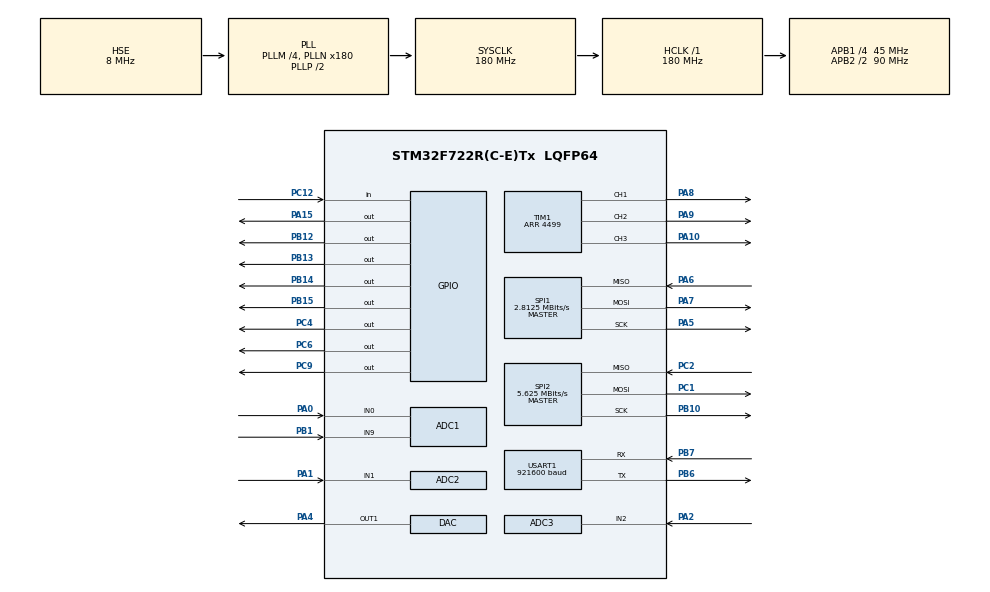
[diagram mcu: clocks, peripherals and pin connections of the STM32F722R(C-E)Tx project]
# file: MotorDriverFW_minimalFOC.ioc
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ADC1.Channel-0\#ChannelRegularConversion=ADC_CHANNEL_9
ADC1.Channel-1\#ChannelInjectedConversion=ADC_CHANNEL_0
ADC1.ClockPrescaler=ADC_CLOCK_SYNC_PCLK_DIV4
ADC1.ContinuousConvMode=DISABLE
ADC1.DMAContinuousRequests=DISABLE
ADC1.ExternalTrigConv=ADC_SOFTWARE_START
ADC1.ExternalTrigConvEdge=ADC_EXTERNALTRIGCONVEDGE_NONE
ADC1.ExternalTrigInjecConv=ADC_EXTERNALTRIGINJECCONV_T1_TRGO
ADC1.InjNumberOfConversion=1
ADC1.InjectedOffset-1\#ChannelInjectedConversion=0
ADC1.InjectedRank-1\#ChannelInjectedConversion=1
ADC1.Mode=ADC_TRIPLEMODE_INJECSIMULT
ADC1.NbrOfConversion=1
ADC1.NbrOfConversionFlag=1
ADC1.Rank-0\#ChannelRegularConversion=1
ADC1.SamplingTime-0\#ChannelRegularConversion=ADC_SAMPLETIME_3CYCLES
ADC1.SamplingTime-1\#ChannelInjectedConversion=ADC_SAMPLETIME_28CYCLES
ADC1.master=1
ADC2.Channel-0\#ChannelRegularConversion=ADC_CHANNEL_1
ADC2.Channel-1\#ChannelInjectedConversion=ADC_CHANNEL_1
ADC2.InjNumberOfConversion=1
ADC2.InjectedOffset-1\#ChannelInjectedConversion=0
ADC2.InjectedRank-1\#ChannelInjectedConversion=1
ADC2.Mode=ADC_TRIPLEMODE_INJECSIMULT
ADC2.NbrOfConversion=1
ADC2.NbrOfConversionFlag=1
ADC2.Rank-0\#ChannelRegularConversion=1
ADC2.SamplingTime-0\#ChannelRegularConversion=ADC_SAMPLETIME_3CYCLES
ADC2.SamplingTime-1\#ChannelInjectedConversion=ADC_SAMPLETIME_28CYCLES
ADC3.Channel-0\#ChannelRegularConversion=ADC_CHANNEL_2
ADC3.Channel-1\#ChannelInjectedConversion=ADC_CHANNEL_2
ADC3.DMAAccessMode=ADC_DMAACCESSMODE_1
ADC3.InjNumberOfConversion=1
ADC3.InjectedOffset-1\#ChannelInjectedConversion=0
ADC3.InjectedRank-1\#ChannelInjectedConversion=1
ADC3.Mode=ADC_TRIPLEMODE_INJECSIMULT
ADC3.NbrOfConversion=1
ADC3.NbrOfConversionFlag=1
ADC3.Rank-0\#ChannelRegularConversion=1
ADC3.SamplingTime-0\#ChannelRegularConversion=ADC_SAMPLETIME_3CYCLES
ADC3.SamplingTime-1\#ChannelInjectedConversion=ADC_SAMPLETIME_28CYCLES
CORTEX_M7.ART_ACCELERATOR_ENABLE=0
CORTEX_M7.CPU_DCache=Disabled
CORTEX_M7.CPU_ICache=Enabled
CORTEX_M7.FlashInterface=AXI_Enabled
CORTEX_M7.PREFETCH_ENABLE=0
CORTEX_M7.default_mode_Activation=1
Dma.Request0=USART1_TX
Dma.Request1=USART1_RX
Dma.Request2=SPI2_RX
Dma.Request3=SPI2_TX
Dma.SPI2_RX.2.Direction=DMA_PERIPH_TO_MEMORY
Dma.SPI2_RX.2.FIFOMode=DMA_FIFOMODE_DISABLE
Dma.SPI2_RX.2.Instance=DMA1_Stream3
Dma.SPI2_RX.2.MemDataAlignment=DMA_MDATAALIGN_HALFWORD
Dma.SPI2_RX.2.MemInc=DMA_MINC_ENABLE
Dma.SPI2_RX.2.Mode=DMA_NORMAL
Dma.SPI2_RX.2.PeriphDataAlignment=DMA_PDATAALIGN_HALFWORD
Dma.SPI2_RX.2.PeriphInc=DMA_PINC_DISABLE
Dma.SPI2_RX.2.Priority=DMA_PRIORITY_MEDIUM
Dma.SPI2_TX.3.Direction=DMA_MEMORY_TO_PERIPH
Dma.SPI2_TX.3.FIFOMode=DMA_FIFOMODE_DISABLE
Dma.SPI2_TX.3.Instance=DMA1_Stream4
Dma.SPI2_TX.3.MemDataAlignment=DMA_MDATAALIGN_HALFWORD
Dma.SPI2_TX.3.MemInc=DMA_MINC_ENABLE
Dma.SPI2_TX.3.Mode=DMA_NORMAL
Dma.SPI2_TX.3.PeriphDataAlignment=DMA_PDATAALIGN_HALFWORD
Dma.SPI2_TX.3.PeriphInc=DMA_PINC_DISABLE
Dma.SPI2_TX.3.Priority=DMA_PRIORITY_MEDIUM
Dma.USART1_RX.1.Direction=DMA_PERIPH_TO_MEMORY
Dma.USART1_RX.1.FIFOMode=DMA_FIFOMODE_DISABLE
Dma.USART1_RX.1.Instance=DMA2_Stream2
Dma.USART1_RX.1.MemDataAlignment=DMA_MDATAALIGN_BYTE
Dma.USART1_RX.1.MemInc=DMA_MINC_ENABLE
Dma.USART1_RX.1.Mode=DMA_CIRCULAR
Dma.USART1_RX.1.PeriphDataAlignment=DMA_PDATAALIGN_BYTE
Dma.USART1_RX.1.PeriphInc=DMA_PINC_DISABLE
Dma.USART1_RX.1.Priority=DMA_PRIORITY_LOW
Dma.USART1_TX.0.Direction=DMA_MEMORY_TO_PERIPH
Dma.USART1_TX.0.FIFOMode=DMA_FIFOMODE_DISABLE
Dma.USART1_TX.0.Instance=DMA2_Stream7
Dma.USART1_TX.0.MemDataAlignment=DMA_MDATAALIGN_BYTE
Dma.USART1_TX.0.MemInc=DMA_MINC_ENABLE
Dma.USART1_TX.0.Mode=DMA_NORMAL
Dma.USART1_TX.0.PeriphDataAlignment=DMA_PDATAALIGN_BYTE
Dma.USART1_TX.0.PeriphInc=DMA_PINC_DISABLE
Dma.USART1_TX.0.Priority=DMA_PRIORITY_LOW
Mcu.Family=STM32F7
Mcu.Name=STM32F722R(C-E)Tx
Mcu.Package=LQFP64
NVIC.ADC_IRQn=true\:0\:0\:false\:false\:true\:true\:true\:true
NVIC.DMA1_Stream3_IRQn=true\:0\:0\:false\:false\:true\:false\:true\:true
NVIC.DMA1_Stream4_IRQn=true\:0\:0\:false\:false\:true\:false\:true\:true
NVIC.DMA2_Stream2_IRQn=true\:1\:0\:true\:false\:true\:false\:true\:true
NVIC.DMA2_Stream7_IRQn=true\:1\:0\:true\:false\:true\:false\:true\:true
NVIC.PriorityGroup=NVIC_PRIORITYGROUP_4
NVIC.TIM1_UP_TIM10_IRQn=true\:0\:0\:false\:false\:true\:true\:true\:true
NVIC.USART1_IRQn=true\:2\:0\:true\:false\:true\:false\:true\:true
PA0-WKUP.Signal=ADCx_IN0
PA1.Signal=ADCx_IN1
PA10.Signal=S_TIM1_CH3
PA13.Mode=Trace_Asynchronous_SW
PA13.Signal=SYS_JTMS-SWDIO
PA14.Mode=Trace_Asynchronous_SW
PA14.Signal=SYS_JTCK-SWCLK
PA15.GPIO_Speed=GPIO_SPEED_FREQ_VERY_HIGH
PA15.Signal=GPIO_Output
PA2.Signal=ADCx_IN2
PA4.Signal=COMP_DAC1_group
PA5.Mode=Full_Duplex_Master
PA5.Signal=SPI1_SCK
PA6.Mode=Full_Duplex_Master
PA6.Signal=SPI1_MISO
PA7.Mode=Full_Duplex_Master
PA7.Signal=SPI1_MOSI
PA8.Signal=S_TIM1_CH1
PA9.Signal=S_TIM1_CH2
PB1.Signal=ADCx_IN9
PB10.Mode=Full_Duplex_Master
PB10.Signal=SPI2_SCK
PB12.GPIO_Speed=GPIO_SPEED_FREQ_VERY_HIGH
PB12.Signal=GPIO_Output
PB13.GPIO_Speed=GPIO_SPEED_FREQ_VERY_HIGH
PB13.Signal=GPIO_Output
PB14.GPIO_Speed=GPIO_SPEED_FREQ_VERY_HIGH
PB14.PinState=GPIO_PIN_RESET
PB14.Signal=GPIO_Output
PB15.GPIO_Speed=GPIO_SPEED_FREQ_VERY_HIGH
PB15.Signal=GPIO_Output
PB3.Mode=Trace_Asynchronous_SW
PB3.Signal=SYS_JTDO-SWO
PB6.Mode=Asynchronous
PB6.Signal=USART1_TX
PB7.Mode=Asynchronous
PB7.Signal=USART1_RX
PC1.Mode=Full_Duplex_Master
PC1.Signal=SPI2_MOSI
PC12.Signal=GPIO_Input
PC2.Mode=Full_Duplex_Master
PC2.Signal=SPI2_MISO
PC4.GPIO_Speed=GPIO_SPEED_FREQ_VERY_HIGH
PC4.Signal=GPIO_Output
PC6.GPIO_Speed=GPIO_SPEED_FREQ_VERY_HIGH
PC6.Signal=GPIO_Output
PC9.GPIO_Speed=GPIO_SPEED_FREQ_VERY_HIGH
PC9.Signal=GPIO_Output
PH0-OSC_IN.Mode=HSE-External-Oscillator
PH0-OSC_IN.Signal=RCC_OSC_IN
PH1-OSC_OUT.Mode=HSE-External-Oscillator
PH1-OSC_OUT.Signal=RCC_OSC_OUT
ProjectManager.HeapSize=0x200
ProjectManager.StackSize=0x400
ProjectManager.TargetToolchain=STM32CubeIDE
RCC.AHBFreq_Value=180000000
RCC.APB1CLKDivider=RCC_HCLK_DIV4
RCC.APB1Freq_Value=45000000
RCC.APB1TimFreq_Value=90000000
RCC.APB2CLKDivider=RCC_HCLK_DIV2
RCC.APB2Freq_Value=90000000
RCC.APB2TimFreq_Value=180000000
RCC.CortexFreq_Value=180000000
RCC.HCLKFreq_Value=180000000
RCC.HSE_VALUE=8000000
RCC.HSI_VALUE=16000000
RCC.LSE_VALUE=32768
RCC.PLLM=4
RCC.PLLN=180
RCC.PLLSourceVirtual=RCC_PLLSOURCE_HSE
RCC.SYSCLKFreq_VALUE=180000000
RCC.SYSCLKSource=RCC_SYSCLKSOURCE_PLLCLK
RCC.USBFreq_Value=180000000
RCC.VCOOutputFreq_Value=360000000
SH.ADCx_IN0.0=ADC1_IN0,IN0
SH.ADCx_IN1.0=ADC2_IN1,IN1
SH.ADCx_IN2.0=ADC3_IN2,IN2
SH.ADCx_IN9.0=ADC1_IN9,IN9
SH.COMP_DAC1_group.0=DAC_OUT1,DAC_OUT1
SH.S_TIM1_CH1.0=TIM1_CH1,PWM Generation1 CH1
SH.S_TIM1_CH2.0=TIM1_CH2,PWM Generation2 CH2
SH.S_TIM1_CH3.0=TIM1_CH3,PWM Generation3 CH3
SPI1.BaudRatePrescaler=SPI_BAUDRATEPRESCALER_32
SPI1.CLKPhase=SPI_PHASE_2EDGE
SPI1.CalculateBaudRate=2.8125 MBits/s
SPI1.DataSize=SPI_DATASIZE_16BIT
SPI1.Direction=SPI_DIRECTION_2LINES
SPI1.Mode=SPI_MODE_MASTER
SPI1.VirtualType=VM_MASTER
SPI2.BaudRatePrescaler=SPI_BAUDRATEPRESCALER_8
SPI2.CLKPhase=SPI_PHASE_2EDGE
SPI2.CalculateBaudRate=5.625 MBits/s
SPI2.DataSize=SPI_DATASIZE_16BIT
SPI2.Direction=SPI_DIRECTION_2LINES
SPI2.Mode=SPI_MODE_MASTER
SPI2.VirtualType=VM_MASTER
TIM1.Channel-PWM\ Generation1\ CH1=TIM_CHANNEL_1
TIM1.Channel-PWM\ Generation2\ CH2=TIM_CHANNEL_2
TIM1.Channel-PWM\ Generation3\ CH3=TIM_CHANNEL_3
TIM1.Channel-PWM\ Generation4\ No\ Output=TIM_CHANNEL_4
TIM1.CounterMode=TIM_COUNTERMODE_CENTERALIGNED1
TIM1.OCMode_PWM-PWM\ Generation1\ CH1=TIM_OCMODE_PWM1
TIM1.OCMode_PWM-PWM\ Generation2\ CH2=TIM_OCMODE_PWM1
TIM1.OCMode_PWM-PWM\ Generation3\ CH3=TIM_OCMODE_PWM1
TIM1.OCPolarity_1=TIM_OCPOLARITY_LOW
TIM1.OCPolarity_2=TIM_OCPOLARITY_LOW
TIM1.OCPolarity_3=TIM_OCPOLARITY_LOW
TIM1.OCPolarity_4=TIM_OCPOLARITY_HIGH
TIM1.Period=4499
TIM1.RepetitionCounter=1
TIM1.TIM_MasterOutputTrigger=TIM_TRGO_OC4REF
TIM1.TIM_MasterSlaveMode=TIM_MASTERSLAVEMODE_ENABLE
USART1.BaudRate=921600
USART1.VirtualMode-Asynchronous=VM_ASYNC
VP_TIM1_VS_ClockSourceINT.Mode=Internal
VP_TIM1_VS_no_output4.Mode=PWM Generation4 No Output
board=custom

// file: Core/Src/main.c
/* USER CODE BEGIN Header */
/**
  ******************************************************************************
  * @file           : main.c
  * @brief          : Main program body
  ******************************************************************************
  * @attention
  *
  * Copyright (c) 2026 STMicroelectronics.
  * All rights reserved.
  *
  * This software is licensed under terms that can be found in the LICENSE file
  * in the root directory of this software component.
  * If no LICENSE file comes with this software, it is provided AS-IS.
  *
  ******************************************************************************
  */
/* USER CODE END Header */
#include "main.h"

/* USER CODE BEGIN Includes */
#include <stdio.h>
#include <string.h>
#include "motor/foc_motor.h"
#include "foc_config.h"
#include "foc.h"
#include "driver/foc_drv8323.h"
#include "driver/foc_as5147.h"
#include "core/math/foc_math.h"
#include "core/math/foc_trapgen.h"
/* USER CODE END Includes */

/* USER CODE BEGIN PD */
#define AS5147_CSN_PORT      GPIOC
#define AS5147_CSN_PIN       GPIO_PIN_4
#define DRV8323_NSCS_PORT    GPIOA
#define DRV8323_NSCS_PIN     GPIO_PIN_15
#define DRV8323_EN_PORT      GPIOB
#define DRV8323_EN_PIN       GPIO_PIN_13
#define DRV8323_NFAULT_PORT  GPIOC
#define DRV8323_NFAULT_PIN   GPIO_PIN_12
#define DRV8323_INLX_PORT    GPIOC
#define DRV8323_INLX_PIN     GPIO_PIN_9
#define LED_DEBUG_PORT       GPIOB
#define LED_DEBUG_PIN        GPIO_PIN_12
/* USER CODE END PD */

ADC_HandleTypeDef hadc1;
ADC_HandleTypeDef hadc2;
ADC_HandleTypeDef hadc3;

DAC_HandleTypeDef hdac;

SPI_HandleTypeDef hspi1;
SPI_HandleTypeDef hspi2;
DMA_HandleTypeDef hdma_spi2_rx;
DMA_HandleTypeDef hdma_spi2_tx;

TIM_HandleTypeDef htim1;

UART_HandleTypeDef huart1;
DMA_HandleTypeDef hdma_usart1_tx;
DMA_HandleTypeDef hdma_usart1_rx;

/* USER CODE BEGIN PV */
FOC_Motor_t motor;

static uint16_t          as5147_tx = AS5147_CMD_READ_ANGLECOM;
static volatile uint16_t as5147_rx = 0;
static volatile uint32_t isr_cycles = 0;

/* Binary data logger — 64-byte frames at 1 kHz via UART DMA.
 * Frame: [0xAA][0x55][15 × float32 LE, 60 B][uint8 mode][XOR CRC]
 * Fields: theta_mech, omega_mech, theta_elec, i_u, i_v, i_w,
 *         i_d, i_q, v_d, v_q, i_d_ref, i_q_ref, omega_ref, theta_ref, isr_us */
#define LOG_DECIMATE    20u
#define LOG_FRAME_BYTES 64u

static uint8_t          log_buf[2][LOG_FRAME_BYTES];
static volatile uint8_t log_wr   = 0u;
static volatile uint8_t log_pend = 0u;

/* ISR operating mode */
typedef enum { ISR_MODE_ADC_CAL, ISR_MODE_CONTROL } ISR_Mode_t;
static volatile ISR_Mode_t isr_mode = ISR_MODE_ADC_CAL;

/* ADC zero-current offset calibration */
#define ADC_CAL_SAMPLES 256u
static uint32_t          adc_zero[3];
static uint32_t          adc_cal_sum[3];
static uint32_t          adc_cal_count;
static volatile uint8_t  adc_cal_finished = 0u;

/* Function generator — runs in ISR, drives the active-mode reference */
typedef struct {
    uint8_t  enabled;
    uint8_t  waveform;   /* 0=step  1=square  2=triangle  3=sine  4=staircase2 */
    float    frequency;  /* Hz */
    float    amplitude;  /* peak magnitude */
    float    offset;     /* DC bias */
    float    phase;      /* accumulator [0, 1) */
} FOC_FuncGen_t;
static FOC_FuncGen_t fgen;

/* Position reference shaping — application-layer concern, not foc.c's.
 * theta_target is the raw, instantaneously-set commanded position (from a
 * UART command or the fgen); trapgen_pos shapes it into a trapezoidal
 * trajectory each tick, and only the shaped output is written into
 * motor.ref.theta_ref for foc.c to track. Kept here (rather than inside
 * the portable library) so that on a future CAN-networked multi-actuator
 * build, a coordinator-driven reference can be substituted here without
 * foc.c ever needing to know or care where theta_ref comes from. */
static float         theta_target = 0.0f;
static FOC_TrapGen_t trapgen_pos;

/* UART RX — DMA circular buffer; main loop polls write pointer, no callbacks needed */
#define CMD_DMA_BUF_SIZE 64u
static          uint8_t  cmd_dma_buf[CMD_DMA_BUF_SIZE];
static          uint8_t  cmd_dma_rd  = 0u;

/* Mailbox: main loop parses frames and posts here; ISR applies at top of tick */
static volatile uint8_t  pending_cmd  = 0u;
static volatile float    pending_val  = 0.0f;
static volatile uint8_t  cmd_ready    = 0u;
static volatile uint8_t          motor_stopped    = 0u;
static          FOC_CtrlMode_t   mode_before_stop = FOC_MODE_VOLTAGE;
/* USER CODE END PV */

void SystemClock_Config(void);
static void MPU_Config(void);
static void MX_GPIO_Init(void);
static void MX_DMA_Init(void);
static void MX_SPI2_Init(void);
static void MX_TIM1_Init(void);
static void MX_USART1_UART_Init(void);
static void MX_DAC_Init(void);
static void MX_SPI1_Init(void);
static void MX_ADC1_Init(void);
static void MX_ADC2_Init(void);
static void MX_ADC3_Init(void);
/* USER CODE BEGIN PFP */
static void PWM_SetDuties(float duty_u, float duty_v, float duty_w);
static void cmd_parse(void);
static void cmd_apply(uint8_t cmd, float val);
/* USER CODE END PFP */

/* USER CODE BEGIN 0 */
int _write(int file, char *ptr, int len)
{
    for (int i = 0; i < len; i++)
        ITM_SendChar(ptr[i]);
    return len;
}

static void DRV8323_SPI_Transfer(const uint8_t *tx, uint8_t *rx, uint8_t len)
{
    uint16_t tx16 = ((uint16_t)tx[0] << 8) | tx[1];
    uint16_t rx16 = 0;
    HAL_GPIO_WritePin(DRV8323_NSCS_PORT, DRV8323_NSCS_PIN, GPIO_PIN_RESET);
    HAL_SPI_TransmitReceive(&hspi1, (uint8_t*)&tx16, (uint8_t*)&rx16, 1, 10);
    HAL_GPIO_WritePin(DRV8323_NSCS_PORT, DRV8323_NSCS_PIN, GPIO_PIN_SET);
    if (rx) { rx[0] = (uint8_t)(rx16 >> 8); rx[1] = (uint8_t)(rx16 & 0xFF); }
}

static uint16_t DRV8323_ReadReg(uint8_t addr)
{
    uint16_t frame = (1u << 15u) | ((uint16_t)(addr & 0x0Fu) << 11u);
    uint8_t tx[2] = { (uint8_t)(frame >> 8), (uint8_t)(frame & 0xFF) };
    uint8_t rx[2] = { 0, 0 };
    DRV8323_SPI_Transfer(tx, rx, 2);
    return ((uint16_t)rx[0] << 8 | rx[1]) & 0x7FFu;
}

static void PWM_SetDuties(float duty_u, float duty_v, float duty_w)
{
    uint32_t period = __HAL_TIM_GET_AUTORELOAD(&htim1);
    __HAL_TIM_SET_COMPARE(&htim1, TIM_CHANNEL_3, (uint32_t)(duty_u * period));
    __HAL_TIM_SET_COMPARE(&htim1, TIM_CHANNEL_2, (uint32_t)(duty_v * period));
    __HAL_TIM_SET_COMPARE(&htim1, TIM_CHANNEL_1, (uint32_t)(duty_w * period));
}

static void log_pack(void)
{
    if (log_pend) return;

    uint8_t *p = log_buf[log_wr];
    p[0] = 0xAAu;
    p[1] = 0x55u;

    const float payload[15] = {
        motor.state.theta_mech,
        motor.state.omega_mech,
        motor.state.theta_elec,
        motor.state.i_u,
        motor.state.i_v,
        motor.state.i_w,
        motor.state.i_d,
        motor.state.i_q,
        motor.out.v_d,
        motor.out.v_q,
        motor.ref.i_d_ref,
        motor.ref.i_q_ref,
        motor.ref.omega_ref,
        motor.ref.theta_ref,
        (float)isr_cycles / 180.0f
    };
    memcpy(p + 2u, payload, 60u);

    p[62u] = (uint8_t)motor.ref.mode;

    uint8_t crc = 0u;
    for (uint8_t i = 2u; i < 63u; i++) crc ^= p[i];
    p[63u] = crc;

    log_pend = 1u;
}

static float fgen_update(FOC_FuncGen_t *fg)
{
    fg->phase += fg->frequency * FOC_TS_HW;
    if (fg->phase >= 1.0f) fg->phase -= 1.0f;

    float out;
    switch (fg->waveform) {
        case 1u: /* square */
            out = (fg->phase < 0.5f) ? fg->amplitude : -fg->amplitude;
            break;
        case 2u: /* triangle */
            out = fg->amplitude * ((fg->phase < 0.5f)
                ? (4.0f * fg->phase - 1.0f)
                : (3.0f - 4.0f * fg->phase));
            break;
        case 3u: { /* sine — uses LUT, no math.h */
            float s, c;
            FOC_Math_SinCos(fg->phase * FOC_TWO_PI, &s, &c);
            out = fg->amplitude * s;
            break;
        }
        case 4u: {
            /* 2-step staircase: 0 -> A -> 2A, repeating every period.
             * The A->2A leg never crosses zero current, so the dead-time
             * phase-current-sign disturbance stays fixed across that edge —
             * that's the "second step" meant for clean R/L identification;
             * discard the 0->A and 2A->0 legs, which do cross zero. */
            const float third = 1.0f / 3.0f;
            if (fg->phase < third)             out = 0.0f;
            else if (fg->phase < 2.0f * third) out = fg->amplitude;
            else                                out = 2.0f * fg->amplitude;
            break;
        }
        case 0u: /* step — constant amplitude */
        default:
            out = fg->amplitude;
            break;
    }
    return out + fg->offset;
}

void HAL_TIM_PeriodElapsedCallback(TIM_HandleTypeDef *htim)
{
    static uint32_t log_tick = 0u;

    if (htim->Instance != TIM1) return;
    if (isr_mode == ISR_MODE_ADC_CAL) return;

    if (cmd_ready) {
        cmd_ready = 0u;
        cmd_apply(pending_cmd, pending_val);
    }

    uint32_t t0 = DWT->CYCCNT;

    motor.state.theta_mech_raw = (float)(as5147_rx & AS5147_RESP_DATA_MASK)
                                 * (2.0f * 3.14159265f / 16384.0f);
    HAL_GPIO_WritePin(AS5147_CSN_PORT, AS5147_CSN_PIN, GPIO_PIN_RESET);
    HAL_SPI_TransmitReceive_DMA(&hspi2, (uint8_t*)&as5147_tx, (uint8_t*)&as5147_rx, 1);

    /* Apply function generator — voltage mode only; other modes commented out */
    if (fgen.enabled && !motor_stopped) {
        float fgen_out = fgen_update(&fgen);
        if (motor.ref.mode == FOC_MODE_VOLTAGE) {
            motor.ref.v_q_ref = fgen_out;
//        	motor.ref.v_d_ref = fgen_out; //Just for measuring d axis parameters
        }
//      else if (motor.ref.mode == FOC_MODE_TORQUE)    motor.ref.i_d_ref   = fgen_out; //For testing id current control, this should be iq
        else if (motor.ref.mode == FOC_MODE_TORQUE)    motor.ref.i_q_ref   = fgen_out;
        else if (motor.ref.mode == FOC_MODE_VELOCITY)  motor.ref.omega_ref = fgen_out;
        else if (motor.ref.mode == FOC_MODE_POSITION)  theta_target        = fgen_out;
    }

    /* Shape theta_target into a trapezoidal trajectory before foc.c tracks
     * it — application-layer concern, see trapgen_pos declaration above.
     * Seeds from the real position on first use after a reset, and replans
     * whenever theta_target actually changes (bumpless start / re-target,
     * same tradeoffs as documented in foc_trapgen.h). */
    if (motor.ref.mode == FOC_MODE_POSITION) {
        if (!trapgen_pos.initialized) {
            FOC_TrapGen_Seed(&trapgen_pos, motor.state.theta_mech - motor.hw.theta_mech_offset);
        }
        if (theta_target != trapgen_pos.last_target_raw) {
            FOC_TrapGen_Start(&trapgen_pos, theta_target,
                               FOC_POSITION_TRAP_VMAX, FOC_POSITION_TRAP_AMAX);
        }
        motor.ref.theta_ref = FOC_TrapGen_Update(&trapgen_pos, FOC_TS_HW);
    }

    FOC_Step(&motor);
//  PWM_SetDuties(motor.out.duty_u, motor.out.duty_v, motor.out.duty_w);  // V/W original order
    PWM_SetDuties(motor.out.duty_u, motor.out.duty_w, motor.out.duty_v);  // V and W swapped

    float i_q_norm = motor.state.i_q * (1.0f / 1.0f);
    if (i_q_norm >  1.0f) i_q_norm =  1.0f;
    if (i_q_norm < -1.0f) i_q_norm = -1.0f;
    HAL_DAC_SetValue(&hdac, DAC_CHANNEL_1, DAC_ALIGN_12B_R,
                     (uint32_t)((i_q_norm + 1.0f) * 0.5f * 4095.0f));

    isr_cycles = DWT->CYCCNT - t0;

//    static uint32_t log_tick = 0u;
    if (++log_tick >= LOG_DECIMATE) {
        log_tick = 0u;
        log_pack();
    }
}

void HAL_SPI_TxRxCpltCallback(SPI_HandleTypeDef *hspi)
{
    if (hspi->Instance != SPI2) return;
    HAL_GPIO_WritePin(AS5147_CSN_PORT, AS5147_CSN_PIN, GPIO_PIN_SET);
}

static void cmd_parse(void)
{
    /* Poll DMA write pointer and scan for valid 7-byte frames.
     * Frame: [0xBB][CMD][float32 LE, 4 B][XOR CRC]
     * Bytes are consumed here; command is posted to mailbox for ISR to apply. */
    uint8_t dma_wr = (uint8_t)(CMD_DMA_BUF_SIZE - __HAL_DMA_GET_COUNTER(huart1.hdmarx));
    uint8_t avail  = (uint8_t)((dma_wr - cmd_dma_rd + CMD_DMA_BUF_SIZE) & (CMD_DMA_BUF_SIZE - 1u));

    while (avail >= 7u) {
        if (cmd_dma_buf[cmd_dma_rd] != 0xBBu) {
            cmd_dma_rd = (cmd_dma_rd + 1u) & (CMD_DMA_BUF_SIZE - 1u);
            avail--;
            continue;
        }
        uint8_t crc = 0u;
        for (uint8_t i = 1u; i < 6u; i++)
            crc ^= cmd_dma_buf[(cmd_dma_rd + i) & (CMD_DMA_BUF_SIZE - 1u)];
        if (crc != cmd_dma_buf[(cmd_dma_rd + 6u) & (CMD_DMA_BUF_SIZE - 1u)]) {
            cmd_dma_rd = (cmd_dma_rd + 1u) & (CMD_DMA_BUF_SIZE - 1u);
            avail--;
            continue;
        }
        uint8_t cmd = cmd_dma_buf[(cmd_dma_rd + 1u) & (CMD_DMA_BUF_SIZE - 1u)];
        uint8_t fb[4];
        for (uint8_t i = 0u; i < 4u; i++)
            fb[i] = cmd_dma_buf[(cmd_dma_rd + 2u + i) & (CMD_DMA_BUF_SIZE - 1u)];
        float val;
        memcpy(&val, fb, 4u);
        cmd_dma_rd = (cmd_dma_rd + 7u) & (CMD_DMA_BUF_SIZE - 1u);
        avail -= 7u;

        if (!cmd_ready) {
            pending_val = val;
            pending_cmd = cmd;
            cmd_ready   = 1u;
        }
        /* If cmd_ready is already set the ISR hasn't applied the previous command
         * yet — drop this frame. Commands arrive at human speed (ms intervals) so
         * this should never happen in practice. */
    }
}

static void cmd_apply(uint8_t cmd, float val)
{
    /* Called from ISR context — safe to write motor.ref.* directly. */
    switch (cmd) {
        case 0x01u: { /* SET_MODE */
            FOC_CtrlMode_t new_mode = (FOC_CtrlMode_t)val;
            /* While stopped, the live ref.mode must stay pinned at
             * FOC_MODE_VOLTAGE (gate disabled) — switching it to a PI-driven
             * mode here would run the current/velocity/position loop against
             * a bridge that can't respond, winding up the integrator before
             * RESUME ever re-enables it. Redirect the request to
             * mode_before_stop instead; RESUME already applies it. */
            FOC_CtrlMode_t *target = motor_stopped ? &mode_before_stop : &motor.ref.mode;
            if (new_mode != *target) {
                motor.ref.v_d_ref   = 0.0f;
                motor.ref.v_q_ref   = 0.0f;
                motor.ref.i_d_ref   = 0.0f;
                motor.ref.i_q_ref   = 0.0f;
                motor.ref.omega_ref = 0.0f;
                /* Entering position mode: hold the current position instead of
                 * snapping theta_target to 0, which would command a step to
                 * the calibration-zero angle and jerk the rotor. Resetting
                 * trapgen_pos makes the shaping block re-seed from the real
                 * position on the next tick (see the shaping block above
                 * FOC_Step() in the ISR). */
                theta_target = (new_mode == FOC_MODE_POSITION)
                             ? (motor.state.theta_mech - motor.hw.theta_mech_offset)
                             : 0.0f;
                motor.ref.theta_ref = theta_target;
                FOC_TrapGen_Reset(&trapgen_pos);
                fgen.enabled = 0u;
                *target      = new_mode;
                FOC_Reset();
            }
            break;
        }
        case 0x02u: motor.ref.v_d_ref = val; break;  /* SET_VD_REF */
        case 0x03u: motor.ref.v_q_ref = val; break;  /* SET_VQ_REF */
        case 0x04u: motor.ref.i_d_ref   = val; break;  /* SET_ID_REF  */
        case 0x05u: motor.ref.i_q_ref   = val; break;  /* SET_IQ_REF  */
        case 0x06u: motor.ref.omega_ref  = val; break;  /* SET_OMEGA_REF */
        case 0x07u: theta_target = val; break;  /* SET_THETA_REF */
        case 0x08u: { /* STOP */
            /* Drop to voltage mode at 0V instead of leaving the previous
             * mode running with zeroed refs: with the gate driver disabled
             * the inner loops would keep integrating against a measured
             * state they can no longer correct, winding up the PID(s) and
             * causing a jump the moment RESUME re-enables the bridge. */
            if (!motor_stopped) {
                mode_before_stop = motor.ref.mode;
            }
            motor.ref.v_d_ref   = 0.0f;
            motor.ref.v_q_ref   = 0.0f;
            motor.ref.i_d_ref   = 0.0f;
            motor.ref.i_q_ref   = 0.0f;
            motor.ref.omega_ref = 0.0f;
            motor.ref.theta_ref = 0.0f;
            motor.ref.mode      = FOC_MODE_VOLTAGE;
            fgen.enabled        = 0u;
            FOC_Reset();
            HAL_GPIO_WritePin(GPIOC, GPIO_PIN_9, GPIO_PIN_RESET);
            motor_stopped = 1u;
            break;
        }
        case 0x09u: { /* RESUME */
            if (motor_stopped) {
                /* Position mode: hold the current position rather than
                 * resuming with the stale theta_target zeroed out by STOP. */
                if (mode_before_stop == FOC_MODE_POSITION) {
                    theta_target = motor.state.theta_mech - motor.hw.theta_mech_offset;
                    motor.ref.theta_ref = theta_target;
                    FOC_TrapGen_Reset(&trapgen_pos);
                }
                motor.ref.mode = mode_before_stop;
                FOC_Reset();
                HAL_GPIO_WritePin(GPIOC, GPIO_PIN_9, GPIO_PIN_SET);
                motor_stopped = 0u;
            }
            break;
        }
        case 0x0Au: fgen.waveform  = (uint8_t)val;            break;  /* FGEN_WAVE   */
        case 0x0Bu: fgen.frequency = val;                      break;  /* FGEN_FREQ   */
        case 0x0Cu: fgen.amplitude = val;                      break;  /* FGEN_AMP    */
        case 0x0Du: fgen.offset    = val;                      break;  /* FGEN_OFFSET */
        case 0x0Eu: fgen.enabled   = (val != 0.0f) ? 1u : 0u; break;  /* FGEN_ENABLE */
        default: break;
    }
}
/* USER CODE END 0 */

int main(void)
{

  /* MPU Configuration--------------------------------------------------------*/
  MPU_Config();

  /* Enable the CPU Cache */

  /* Enable I-Cache---------------------------------------------------------*/
  SCB_EnableICache();

  /* MCU Configuration--------------------------------------------------------*/

  /* Reset of all peripherals, Initializes the Flash interface and the Systick. */
  HAL_Init();

  /* Configure the system clock */
  SystemClock_Config();
  HAL_Delay(6000);	//Test power-up delay

  /* Initialize all configured peripherals */
  MX_GPIO_Init();
  MX_DMA_Init();
  MX_SPI2_Init();
  MX_TIM1_Init();
  MX_USART1_UART_Init();
  MX_DAC_Init();
  MX_SPI1_Init();
  MX_ADC1_Init();
  MX_ADC2_Init();
  MX_ADC3_Init();
  /* USER CODE BEGIN 2 */
  printf("Starting main loop \r\n");

  // Motor params
  motor.params.Rs         = FOC_MOTOR_RS;
  motor.params.Ld         = FOC_MOTOR_LD;
  motor.params.Lq         = FOC_MOTOR_LQ;
  motor.params.lambda_pm  = FOC_MOTOR_LAMBDA_PM;
  motor.params.pole_pairs = FOC_MOTOR_POLE_PAIRS;
  motor.params.J          = FOC_MOTOR_J;
  motor.params.Dm         = FOC_MOTOR_DM;

  // HW config
  motor.hw.Ts               = FOC_TS_HW;
  motor.hw.duty_max         = FOC_DUTY_MAX;
  motor.hw.pwm_active_low   = FOC_PWM_ACTIVE_LOW;
  motor.hw.theta_elec_offset = 0.0f;
  motor.hw.theta_mech_offset = 0.0f;
  motor.hw.phase_reversed   = 0;
//  motor.hw.encoder_reversed = 1;  // OLD: negated theta_mech_st, causing negative omega_mech
  motor.hw.encoder_reversed = 0;
//  motor.hw.theta_elec_offset = -2.443; //From first oscilloscope comparison
//  motor.hw.theta_elec_offset = -2.663; //Newest, from 2nd oscilloscope comparison and MATLAB UV backEMF reconstruction

  // Bus voltage — fixed constant until ADC measurement is wired
  motor.state.v_bus = FOC_V_BUS_NOMINAL;

  // Refs held at zero — offset calibration runs first, motor stays still after
  motor.ref.v_d_ref = 0.0f;
  motor.ref.v_q_ref = 0.0f;
//  motor.ref.v_d_ref = 0.0f;
//  motor.ref.v_q_ref = 1.5f;
//  motor.ref.v_d_ref = 0.0f;
//  motor.ref.v_q_ref = 1.0f;

  FOC_Init();

  /* Current loop PI gains — pole placement: Kp = 2*zeta*wn*L - R,  Ki = L*wn^2 (cont.)
   * Ki is scaled by Ts here for forward-Euler discretisation (integrator += Ki*error each step). */
  {
      const float R     = motor.params.Rs;
      const float L     = motor.params.Ld;           /* Ld = Lq by assumption */
      const float Kp    = 2.0f * FOC_CURRENT_ZETA * FOC_CURRENT_WN * L - R;
      const float Ki    = L * (FOC_CURRENT_WN * FOC_CURRENT_WN) * FOC_TS_HW;
      const float v_lim = FOC_V_BUS_NOMINAL * FOC_ONE_OVER_SQRT3;
      FOC_PID_Init(&foc_pid_id, Kp, Ki, 0.0f, -v_lim, v_lim);
      FOC_PID_Init(&foc_pid_iq, Kp, Ki, 0.0f, -v_lim, v_lim);

      /* Same Kp/Ki -> identical poles; kept initialised so the I-P swap
       * in FOC_CurrentCtrlComputation (foc.c) works without touching this file. */
      FOC_IP_Init(&foc_ip_id, Kp, Ki, -v_lim, v_lim);
      FOC_IP_Init(&foc_ip_iq, Kp, Ki, -v_lim, v_lim);
  }

  /* Velocity loop PI gains — pole placement through the extra Kt gain:
   * Kp = (2*zeta*wn*J - Dm)/Kt,  Ki = J*wn^2/Kt (see foc_config.h). Output
   * is i_q_ref, clamped to the current emergency test limit for now —
   * raise alongside FOC_CURRENT_EMERGENCY_LIMIT once validated. */
  {
      const float J     = motor.params.J;
      const float Dm    = motor.params.Dm;
      const float Kt    = 1.5f * (float)motor.params.pole_pairs * motor.params.lambda_pm;
      const float Kp_w  = (2.0f * FOC_VELOCITY_ZETA * FOC_VELOCITY_WN * J - Dm) / Kt;
      const float Ki_w  = (J * (FOC_VELOCITY_WN * FOC_VELOCITY_WN) / Kt) * FOC_TS_HW;
      const float i_lim = FOC_CURRENT_EMERGENCY_LIMIT*0.7;
      FOC_PID_Init(&foc_pid_speed, Kp_w, Ki_w, 0.0f, -i_lim, i_lim);
  }

  /* Position loop PD gains — pole placement (no integrator needed, the
   * plant is already second order): Kp = J*wn^2/Kt, Kd = (2*zeta*wn*J-Dm)/Kt
   * (see foc_config.h). Same output clamp as the velocity loop. */
  {
      const float J     = motor.params.J;
      const float Dm    = motor.params.Dm;
      const float Kt    = 1.5f * (float)motor.params.pole_pairs * motor.params.lambda_pm;
      const float Kp_p  = J * (FOC_POSITION_WN * FOC_POSITION_WN) / Kt;
      const float Kd_p  = (2.0f * FOC_POSITION_ZETA * FOC_POSITION_WN * J - Dm) / Kt;
      const float i_lim = FOC_CURRENT_EMERGENCY_LIMIT*0.7;
      FOC_PID_Init(&foc_pid_pos, Kp_p, 0.0f, Kd_p, -i_lim, i_lim);
  }

  HAL_DAC_Start(&hdac, DAC_CHANNEL_1);

  CoreDebug->DEMCR |= CoreDebug_DEMCR_TRCENA_Msk;
  DWT->CYCCNT = 0;
  DWT->CTRL   |= DWT_CTRL_CYCCNTENA_Msk;

  // INLx LOW (PC9) — keep low-side off during init
  HAL_GPIO_WritePin(GPIOC, GPIO_PIN_9, GPIO_PIN_RESET);

  // Enable DRV8323 (PB13 HIGH) — required to power the CSA
  HAL_GPIO_WritePin(GPIOB, GPIO_PIN_13, GPIO_PIN_SET);
  HAL_Delay(1);

  // Configure DRV8323 via SPI — sets CSA gain and VREF_DIV before ADC cal
  FOC_DRV8323_Init(DRV8323_SPI_Transfer);
  printf("DRV 00=%03X 01=%03X 02=%03X 03=%03X 04=%03X 05=%03X 06=%03X\r\n",
         DRV8323_ReadReg(0x00), DRV8323_ReadReg(0x01),
         DRV8323_ReadReg(0x02), DRV8323_ReadReg(0x03),
         DRV8323_ReadReg(0x04), DRV8323_ReadReg(0x05),
         DRV8323_ReadReg(0x06));

  // Start PWM outputs — INLx=LOW prevents any switching; safe during cal
  HAL_TIM_PWM_Start(&htim1, TIM_CHANNEL_1); //PA8  — phase W
  HAL_TIM_PWM_Start(&htim1, TIM_CHANNEL_2); //PA9  — phase V
  HAL_TIM_PWM_Start(&htim1, TIM_CHANNEL_3); //PA10 — phase U
  HAL_TIM_PWM_Start(&htim1, TIM_CHANNEL_4); //ADC trigger

  __HAL_TIM_SET_COMPARE(&htim1, TIM_CHANNEL_1, 0);
  __HAL_TIM_SET_COMPARE(&htim1, TIM_CHANNEL_2, 0);
  __HAL_TIM_SET_COMPARE(&htim1, TIM_CHANNEL_3, 0);
  __HAL_TIM_SET_COMPARE(&htim1, TIM_CHANNEL_4, 450);

  // --- ADC offset calibration -------------------------------------------
  // CSA active with correct gain/VREF_DIV. INLx=LOW guarantees zero current.
  HAL_TIM_Base_Start_IT(&htim1);
  if (HAL_ADCEx_InjectedStart(&hadc2) != HAL_OK) { Error_Handler(); }
  if (HAL_ADCEx_InjectedStart(&hadc3) != HAL_OK) { Error_Handler(); }
  HAL_ADCEx_InjectedStart_IT(&hadc1);

  while (!adc_cal_finished); // ~12.8 ms at 20 kHz, 256 samples

  printf("ADC cal done: zero_u=%lu zero_v=%lu zero_w=%lu\r\n",
         adc_zero[0], adc_zero[1], adc_zero[2]);

  // INLx HIGH then immediately switch ISR to CONTROL — no gap where FOC_Step
  // runs without switching enabled.
  FOC_Reset();
  FOC_Calibrate(&motor, FOC_CAL_V_D, FOC_CAL_SETTLE_TIME);
  HAL_GPIO_WritePin(GPIOC, GPIO_PIN_9, GPIO_PIN_SET);
  isr_mode = ISR_MODE_CONTROL;
  HAL_UART_Receive_DMA(&huart1, cmd_dma_buf, CMD_DMA_BUF_SIZE);

//  HAL_Delay(1000);
  // INLx HIGH (PC9)
//  HAL_GPIO_WritePin(GPIOC, GPIO_PIN_9, GPIO_PIN_SET);

//  HAL_Delay(1000);

//  HAL_GPIO_WritePin(GPIOC, GPIO_PIN_9, GPIO_PIN_RESET);

  /* USER CODE END 2 */

  /* Infinite loop */
  while (1)
  {

    /* USER CODE BEGIN 3 */
    cmd_parse();

    static uint8_t cal_printed = 0u;
    if (!cal_printed && motor.ref.mode == FOC_MODE_VOLTAGE) {
        printf("theta_elec_offset = %.4f rad\r\n", motor.hw.theta_elec_offset);
        cal_printed = 1u;
        /* v_q_ref left at 0 — PC scope sets references */
    }

    /* huart1.gState checks TX side only; HAL_UART_GetState() ORs in RxState
       (BUSY_RX when IT receive is armed) which would always block TX. */
    if (log_pend && (huart1.gState == HAL_UART_STATE_READY)) {
        uint8_t tx_idx = log_wr;
        log_wr   ^= 1u;
        log_pend  = 0u;
        HAL_UART_Transmit_DMA(&huart1, log_buf[tx_idx], LOG_FRAME_BYTES);
    }

//    if (HAL_GetTick() >= t_stop) {
//        motor.ref.v_q_ref = 0.0f;
//        motor.ref.v_d_ref = 0.0f;
//        fgen.enabled      = 0u;
//        HAL_GPIO_WritePin(GPIOC, GPIO_PIN_9, GPIO_PIN_RESET);
//        motor_stopped     = 1u;
//    }
  }
  /* USER CODE END 3 */
}

void SystemClock_Config(void)
{
  RCC_OscInitTypeDef RCC_OscInitStruct = {0};
  RCC_ClkInitTypeDef RCC_ClkInitStruct = {0};

  /** Configure the main internal regulator output voltage
  */
  __HAL_RCC_PWR_CLK_ENABLE();
  __HAL_PWR_VOLTAGESCALING_CONFIG(PWR_REGULATOR_VOLTAGE_SCALE1);

  /** Initializes the RCC Oscillators according to the specified parameters
  * in the RCC_OscInitTypeDef structure.
  */
  RCC_OscInitStruct.OscillatorType = RCC_OSCILLATORTYPE_HSE;
  RCC_OscInitStruct.HSEState = RCC_HSE_ON;
  RCC_OscInitStruct.PLL.PLLState = RCC_PLL_ON;
  RCC_OscInitStruct.PLL.PLLSource = RCC_PLLSOURCE_HSE;
  RCC_OscInitStruct.PLL.PLLM = 4;
  RCC_OscInitStruct.PLL.PLLN = 180;
  RCC_OscInitStruct.PLL.PLLP = RCC_PLLP_DIV2;
  RCC_OscInitStruct.PLL.PLLQ = 2;
  if (HAL_RCC_OscConfig(&RCC_OscInitStruct) != HAL_OK)
  {
    Error_Handler();
  }

  /** Initializes the CPU, AHB and APB buses clocks
  */
  RCC_ClkInitStruct.ClockType = RCC_CLOCKTYPE_HCLK|RCC_CLOCKTYPE_SYSCLK
                              |RCC_CLOCKTYPE_PCLK1|RCC_CLOCKTYPE_PCLK2;
  RCC_ClkInitStruct.SYSCLKSource = RCC_SYSCLKSOURCE_PLLCLK;
  RCC_ClkInitStruct.AHBCLKDivider = RCC_SYSCLK_DIV1;
  RCC_ClkInitStruct.APB1CLKDivider = RCC_HCLK_DIV4;
  RCC_ClkInitStruct.APB2CLKDivider = RCC_HCLK_DIV2;

  if (HAL_RCC_ClockConfig(&RCC_ClkInitStruct, FLASH_LATENCY_5) != HAL_OK)
  {
    Error_Handler();
  }
}

static void MX_ADC1_Init(void)
{

  ADC_MultiModeTypeDef multimode = {0};
  ADC_ChannelConfTypeDef sConfig = {0};
  ADC_InjectionConfTypeDef sConfigInjected = {0};

  /** Configure the global features of the ADC (Clock, Resolution, Data Alignment and number of conversion)
  */
  hadc1.Instance = ADC1;
  hadc1.Init.ClockPrescaler = ADC_CLOCK_SYNC_PCLK_DIV4;
  hadc1.Init.Resolution = ADC_RESOLUTION_12B;
  hadc1.Init.ScanConvMode = ADC_SCAN_DISABLE;
  hadc1.Init.ContinuousConvMode = DISABLE;
  hadc1.Init.DiscontinuousConvMode = DISABLE;
  hadc1.Init.ExternalTrigConvEdge = ADC_EXTERNALTRIGCONVEDGE_NONE;
  hadc1.Init.ExternalTrigConv = ADC_SOFTWARE_START;
  hadc1.Init.DataAlign = ADC_DATAALIGN_RIGHT;
  hadc1.Init.NbrOfConversion = 1;
  hadc1.Init.DMAContinuousRequests = DISABLE;
  hadc1.Init.EOCSelection = ADC_EOC_SINGLE_CONV;
  if (HAL_ADC_Init(&hadc1) != HAL_OK)
  {
    Error_Handler();
  }

  /** Configure the ADC multi-mode
  */
  multimode.Mode = ADC_TRIPLEMODE_INJECSIMULT;
  multimode.TwoSamplingDelay = ADC_TWOSAMPLINGDELAY_5CYCLES;
  if (HAL_ADCEx_MultiModeConfigChannel(&hadc1, &multimode) != HAL_OK)
  {
    Error_Handler();
  }

  /** Configure for the selected ADC regular channel its corresponding rank in the sequencer and its sample time.
  */
  sConfig.Channel = ADC_CHANNEL_9;
  sConfig.Rank = ADC_REGULAR_RANK_1;
  sConfig.SamplingTime = ADC_SAMPLETIME_3CYCLES;
  if (HAL_ADC_ConfigChannel(&hadc1, &sConfig) != HAL_OK)
  {
    Error_Handler();
  }

  /** Configures for the selected ADC injected channel its corresponding rank in the sequencer and its sample time
  */
  sConfigInjected.InjectedChannel = ADC_CHANNEL_0;
  sConfigInjected.InjectedRank = ADC_INJECTED_RANK_1;
  sConfigInjected.InjectedNbrOfConversion = 1;
  sConfigInjected.InjectedSamplingTime = ADC_SAMPLETIME_28CYCLES;
  sConfigInjected.ExternalTrigInjecConvEdge = ADC_EXTERNALTRIGINJECCONVEDGE_RISING;
  sConfigInjected.ExternalTrigInjecConv = ADC_EXTERNALTRIGINJECCONV_T1_TRGO;
  sConfigInjected.AutoInjectedConv = DISABLE;
  sConfigInjected.InjectedDiscontinuousConvMode = DISABLE;
  sConfigInjected.InjectedOffset = 0;
  if (HAL_ADCEx_InjectedConfigChannel(&hadc1, &sConfigInjected) != HAL_OK)
  {
    Error_Handler();
  }

}

static void MX_ADC2_Init(void)
{

  ADC_ChannelConfTypeDef sConfig = {0};
  ADC_InjectionConfTypeDef sConfigInjected = {0};

  /** Configure the global features of the ADC (Clock, Resolution, Data Alignment and number of conversion)
  */
  hadc2.Instance = ADC2;
  hadc2.Init.ClockPrescaler = ADC_CLOCK_SYNC_PCLK_DIV4;
  hadc2.Init.Resolution = ADC_RESOLUTION_12B;
  hadc2.Init.ScanConvMode = ADC_SCAN_DISABLE;
  hadc2.Init.ContinuousConvMode = DISABLE;
  hadc2.Init.DiscontinuousConvMode = DISABLE;
  hadc2.Init.DataAlign = ADC_DATAALIGN_RIGHT;
  hadc2.Init.NbrOfConversion = 1;
  hadc2.Init.DMAContinuousRequests = DISABLE;
  hadc2.Init.EOCSelection = ADC_EOC_SINGLE_CONV;
  if (HAL_ADC_Init(&hadc2) != HAL_OK)
  {
    Error_Handler();
  }

  /** Configure for the selected ADC regular channel its corresponding rank in the sequencer and its sample time.
  */
  sConfig.Channel = ADC_CHANNEL_1;
  sConfig.Rank = ADC_REGULAR_RANK_1;
  sConfig.SamplingTime = ADC_SAMPLETIME_3CYCLES;
  if (HAL_ADC_ConfigChannel(&hadc2, &sConfig) != HAL_OK)
  {
    Error_Handler();
  }

  /** Configures for the selected ADC injected channel its corresponding rank in the sequencer and its sample time
  */
  sConfigInjected.InjectedChannel = ADC_CHANNEL_1;
  sConfigInjected.InjectedRank = ADC_INJECTED_RANK_1;
  sConfigInjected.InjectedNbrOfConversion = 1;
  sConfigInjected.InjectedSamplingTime = ADC_SAMPLETIME_28CYCLES;
  sConfigInjected.AutoInjectedConv = ENABLE;
  sConfigInjected.InjectedDiscontinuousConvMode = DISABLE;
  sConfigInjected.InjectedOffset = 0;
  if (HAL_ADCEx_InjectedConfigChannel(&hadc2, &sConfigInjected) != HAL_OK)
  {
    Error_Handler();
  }

}

static void MX_ADC3_Init(void)
{

  ADC_ChannelConfTypeDef sConfig = {0};
  ADC_InjectionConfTypeDef sConfigInjected = {0};

  /** Configure the global features of the ADC (Clock, Resolution, Data Alignment and number of conversion)
  */
  hadc3.Instance = ADC3;
  hadc3.Init.ClockPrescaler = ADC_CLOCK_SYNC_PCLK_DIV4;
  hadc3.Init.Resolution = ADC_RESOLUTION_12B;
  hadc3.Init.ScanConvMode = ADC_SCAN_DISABLE;
  hadc3.Init.ContinuousConvMode = DISABLE;
  hadc3.Init.DiscontinuousConvMode = DISABLE;
  hadc3.Init.DataAlign = ADC_DATAALIGN_RIGHT;
  hadc3.Init.NbrOfConversion = 1;
  hadc3.Init.DMAContinuousRequests = DISABLE;
  hadc3.Init.EOCSelection = ADC_EOC_SINGLE_CONV;
  if (HAL_ADC_Init(&hadc3) != HAL_OK)
  {
    Error_Handler();
  }

  /** Configure for the selected ADC regular channel its corresponding rank in the sequencer and its sample time.
  */
  sConfig.Channel = ADC_CHANNEL_2;
  sConfig.Rank = ADC_REGULAR_RANK_1;
  sConfig.SamplingTime = ADC_SAMPLETIME_3CYCLES;
  if (HAL_ADC_ConfigChannel(&hadc3, &sConfig) != HAL_OK)
  {
    Error_Handler();
  }

  /** Configures for the selected ADC injected channel its corresponding rank in the sequencer and its sample time
  */
  sConfigInjected.InjectedChannel = ADC_CHANNEL_2;
  sConfigInjected.InjectedRank = ADC_INJECTED_RANK_1;
  sConfigInjected.InjectedNbrOfConversion = 1;
  sConfigInjected.InjectedSamplingTime = ADC_SAMPLETIME_28CYCLES;
  sConfigInjected.AutoInjectedConv = ENABLE;
  sConfigInjected.InjectedDiscontinuousConvMode = DISABLE;
  sConfigInjected.InjectedOffset = 0;
  if (HAL_ADCEx_InjectedConfigChannel(&hadc3, &sConfigInjected) != HAL_OK)
  {
    Error_Handler();
  }

}

static void MX_DAC_Init(void)
{

  DAC_ChannelConfTypeDef sConfig = {0};

  /** DAC Initialization
  */
  hdac.Instance = DAC;
  if (HAL_DAC_Init(&hdac) != HAL_OK)
  {
    Error_Handler();
  }

  /** DAC channel OUT1 config
  */
  sConfig.DAC_Trigger = DAC_TRIGGER_NONE;
  sConfig.DAC_OutputBuffer = DAC_OUTPUTBUFFER_ENABLE;
  if (HAL_DAC_ConfigChannel(&hdac, &sConfig, DAC_CHANNEL_1) != HAL_OK)
  {
    Error_Handler();
  }

}

static void MX_SPI1_Init(void)
{

  /* SPI1 parameter configuration*/
  hspi1.Instance = SPI1;
  hspi1.Init.Mode = SPI_MODE_MASTER;
  hspi1.Init.Direction = SPI_DIRECTION_2LINES;
  hspi1.Init.DataSize = SPI_DATASIZE_16BIT;
  hspi1.Init.CLKPolarity = SPI_POLARITY_LOW;
  hspi1.Init.CLKPhase = SPI_PHASE_2EDGE;
  hspi1.Init.NSS = SPI_NSS_SOFT;
  hspi1.Init.BaudRatePrescaler = SPI_BAUDRATEPRESCALER_32;
  hspi1.Init.FirstBit = SPI_FIRSTBIT_MSB;
  hspi1.Init.TIMode = SPI_TIMODE_DISABLE;
  hspi1.Init.CRCCalculation = SPI_CRCCALCULATION_DISABLE;
  hspi1.Init.CRCPolynomial = 7;
  hspi1.Init.CRCLength = SPI_CRC_LENGTH_DATASIZE;
  hspi1.Init.NSSPMode = SPI_NSS_PULSE_DISABLE;
  if (HAL_SPI_Init(&hspi1) != HAL_OK)
  {
    Error_Handler();
  }

}

static void MX_SPI2_Init(void)
{

  /* SPI2 parameter configuration*/
  hspi2.Instance = SPI2;
  hspi2.Init.Mode = SPI_MODE_MASTER;
  hspi2.Init.Direction = SPI_DIRECTION_2LINES;
  hspi2.Init.DataSize = SPI_DATASIZE_16BIT;
  hspi2.Init.CLKPolarity = SPI_POLARITY_LOW;
  hspi2.Init.CLKPhase = SPI_PHASE_2EDGE;
  hspi2.Init.NSS = SPI_NSS_SOFT;
  hspi2.Init.BaudRatePrescaler = SPI_BAUDRATEPRESCALER_8;
  hspi2.Init.FirstBit = SPI_FIRSTBIT_MSB;
  hspi2.Init.TIMode = SPI_TIMODE_DISABLE;
  hspi2.Init.CRCCalculation = SPI_CRCCALCULATION_DISABLE;
  hspi2.Init.CRCPolynomial = 7;
  hspi2.Init.CRCLength = SPI_CRC_LENGTH_DATASIZE;
  hspi2.Init.NSSPMode = SPI_NSS_PULSE_DISABLE;
  if (HAL_SPI_Init(&hspi2) != HAL_OK)
  {
    Error_Handler();
  }

}

static void MX_TIM1_Init(void)
{

  TIM_ClockConfigTypeDef sClockSourceConfig = {0};
  TIM_MasterConfigTypeDef sMasterConfig = {0};
  TIM_OC_InitTypeDef sConfigOC = {0};
  TIM_BreakDeadTimeConfigTypeDef sBreakDeadTimeConfig = {0};

  htim1.Instance = TIM1;
  htim1.Init.Prescaler = 0;
  htim1.Init.CounterMode = TIM_COUNTERMODE_CENTERALIGNED1;
  htim1.Init.Period = 4499;
  htim1.Init.ClockDivision = TIM_CLOCKDIVISION_DIV1;
  htim1.Init.RepetitionCounter = 1;
  htim1.Init.AutoReloadPreload = TIM_AUTORELOAD_PRELOAD_DISABLE;
  if (HAL_TIM_Base_Init(&htim1) != HAL_OK)
  {
    Error_Handler();
  }
  sClockSourceConfig.ClockSource = TIM_CLOCKSOURCE_INTERNAL;
  if (HAL_TIM_ConfigClockSource(&htim1, &sClockSourceConfig) != HAL_OK)
  {
    Error_Handler();
  }
  if (HAL_TIM_PWM_Init(&htim1) != HAL_OK)
  {
    Error_Handler();
  }
  sMasterConfig.MasterOutputTrigger = TIM_TRGO_OC4REF;
  sMasterConfig.MasterOutputTrigger2 = TIM_TRGO2_RESET;
  sMasterConfig.MasterSlaveMode = TIM_MASTERSLAVEMODE_ENABLE;
  if (HAL_TIMEx_MasterConfigSynchronization(&htim1, &sMasterConfig) != HAL_OK)
  {
    Error_Handler();
  }
  sConfigOC.OCMode = TIM_OCMODE_PWM1;
  sConfigOC.Pulse = 0;
  sConfigOC.OCPolarity = TIM_OCPOLARITY_LOW;
  sConfigOC.OCNPolarity = TIM_OCNPOLARITY_HIGH;
  sConfigOC.OCFastMode = TIM_OCFAST_DISABLE;
  sConfigOC.OCIdleState = TIM_OCIDLESTATE_RESET;
  sConfigOC.OCNIdleState = TIM_OCNIDLESTATE_RESET;
  if (HAL_TIM_PWM_ConfigChannel(&htim1, &sConfigOC, TIM_CHANNEL_1) != HAL_OK)
  {
    Error_Handler();
  }
  if (HAL_TIM_PWM_ConfigChannel(&htim1, &sConfigOC, TIM_CHANNEL_2) != HAL_OK)
  {
    Error_Handler();
  }
  if (HAL_TIM_PWM_ConfigChannel(&htim1, &sConfigOC, TIM_CHANNEL_3) != HAL_OK)
  {
    Error_Handler();
  }
  sConfigOC.OCPolarity = TIM_OCPOLARITY_HIGH;
  if (HAL_TIM_PWM_ConfigChannel(&htim1, &sConfigOC, TIM_CHANNEL_4) != HAL_OK)
  {
    Error_Handler();
  }
  sBreakDeadTimeConfig.OffStateRunMode = TIM_OSSR_DISABLE;
  sBreakDeadTimeConfig.OffStateIDLEMode = TIM_OSSI_DISABLE;
  sBreakDeadTimeConfig.LockLevel = TIM_LOCKLEVEL_OFF;
  sBreakDeadTimeConfig.DeadTime = 0;
  sBreakDeadTimeConfig.BreakState = TIM_BREAK_DISABLE;
  sBreakDeadTimeConfig.BreakPolarity = TIM_BREAKPOLARITY_HIGH;
  sBreakDeadTimeConfig.BreakFilter = 0;
  sBreakDeadTimeConfig.Break2State = TIM_BREAK2_DISABLE;
  sBreakDeadTimeConfig.Break2Polarity = TIM_BREAK2POLARITY_HIGH;
  sBreakDeadTimeConfig.Break2Filter = 0;
  sBreakDeadTimeConfig.AutomaticOutput = TIM_AUTOMATICOUTPUT_DISABLE;
  if (HAL_TIMEx_ConfigBreakDeadTime(&htim1, &sBreakDeadTimeConfig) != HAL_OK)
  {
    Error_Handler();
  }
  HAL_TIM_MspPostInit(&htim1);

}

static void MX_USART1_UART_Init(void)
{

  huart1.Instance = USART1;
  huart1.Init.BaudRate = 921600;
  huart1.Init.WordLength = UART_WORDLENGTH_8B;
  huart1.Init.StopBits = UART_STOPBITS_1;
  huart1.Init.Parity = UART_PARITY_NONE;
  huart1.Init.Mode = UART_MODE_TX_RX;
  huart1.Init.HwFlowCtl = UART_HWCONTROL_NONE;
  huart1.Init.OverSampling = UART_OVERSAMPLING_16;
  huart1.Init.OneBitSampling = UART_ONE_BIT_SAMPLE_DISABLE;
  huart1.AdvancedInit.AdvFeatureInit = UART_ADVFEATURE_NO_INIT;
  if (HAL_UART_Init(&huart1) != HAL_OK)
  {
    Error_Handler();
  }

}

static void MX_DMA_Init(void)
{

  /* DMA controller clock enable */
  __HAL_RCC_DMA2_CLK_ENABLE();
  __HAL_RCC_DMA1_CLK_ENABLE();

  /* DMA interrupt init */
  /* DMA1_Stream3_IRQn interrupt configuration */
  HAL_NVIC_SetPriority(DMA1_Stream3_IRQn, 0, 0);
  HAL_NVIC_EnableIRQ(DMA1_Stream3_IRQn);
  /* DMA1_Stream4_IRQn interrupt configuration */
  HAL_NVIC_SetPriority(DMA1_Stream4_IRQn, 0, 0);
  HAL_NVIC_EnableIRQ(DMA1_Stream4_IRQn);
  /* DMA2_Stream2_IRQn interrupt configuration */
  HAL_NVIC_SetPriority(DMA2_Stream2_IRQn, 1, 0);
  HAL_NVIC_EnableIRQ(DMA2_Stream2_IRQn);
  /* DMA2_Stream7_IRQn interrupt configuration */
  HAL_NVIC_SetPriority(DMA2_Stream7_IRQn, 1, 0);
  HAL_NVIC_EnableIRQ(DMA2_Stream7_IRQn);

}

static void MX_GPIO_Init(void)
{
  GPIO_InitTypeDef GPIO_InitStruct = {0};

  /* GPIO Ports Clock Enable */
  __HAL_RCC_GPIOH_CLK_ENABLE();
  __HAL_RCC_GPIOC_CLK_ENABLE();
  __HAL_RCC_GPIOA_CLK_ENABLE();
  __HAL_RCC_GPIOB_CLK_ENABLE();

  /*Configure GPIO pin Output Level */
  HAL_GPIO_WritePin(GPIOC, GPIO_PIN_4|GPIO_PIN_6|GPIO_PIN_9, GPIO_PIN_RESET);

  /*Configure GPIO pin Output Level */
  HAL_GPIO_WritePin(GPIOB, GPIO_PIN_12|GPIO_PIN_13|GPIO_PIN_14|GPIO_PIN_15, GPIO_PIN_RESET);

  /*Configure GPIO pin Output Level */
  HAL_GPIO_WritePin(GPIOA, GPIO_PIN_15, GPIO_PIN_RESET);

  /*Configure GPIO pins : PC4 PC6 PC9 */
  GPIO_InitStruct.Pin = GPIO_PIN_4|GPIO_PIN_6|GPIO_PIN_9;
  GPIO_InitStruct.Mode = GPIO_MODE_OUTPUT_PP;
  GPIO_InitStruct.Pull = GPIO_NOPULL;
  GPIO_InitStruct.Speed = GPIO_SPEED_FREQ_VERY_HIGH;
  HAL_GPIO_Init(GPIOC, &GPIO_InitStruct);

  /*Configure GPIO pins : PB12 PB13 PB14 PB15 */
  GPIO_InitStruct.Pin = GPIO_PIN_12|GPIO_PIN_13|GPIO_PIN_14|GPIO_PIN_15;
  GPIO_InitStruct.Mode = GPIO_MODE_OUTPUT_PP;
  GPIO_InitStruct.Pull = GPIO_NOPULL;
  GPIO_InitStruct.Speed = GPIO_SPEED_FREQ_VERY_HIGH;
  HAL_GPIO_Init(GPIOB, &GPIO_InitStruct);

  /*Configure GPIO pin : PA15 */
  GPIO_InitStruct.Pin = GPIO_PIN_15;
  GPIO_InitStruct.Mode = GPIO_MODE_OUTPUT_PP;
  GPIO_InitStruct.Pull = GPIO_NOPULL;
  GPIO_InitStruct.Speed = GPIO_SPEED_FREQ_VERY_HIGH;
  HAL_GPIO_Init(GPIOA, &GPIO_InitStruct);

  /*Configure GPIO pin : PC12 */
  GPIO_InitStruct.Pin = GPIO_PIN_12;
  GPIO_InitStruct.Mode = GPIO_MODE_INPUT;
  GPIO_InitStruct.Pull = GPIO_NOPULL;
  HAL_GPIO_Init(GPIOC, &GPIO_InitStruct);

}

/* USER CODE BEGIN 4 */

void HAL_ADCEx_InjectedConvCpltCallback(ADC_HandleTypeDef *hadc)
{
    GPIOC->ODR ^= GPIO_PIN_6;
    if (hadc->Instance != ADC1) return;

    uint32_t raw_u = HAL_ADCEx_InjectedGetValue(&hadc1, ADC_INJECTED_RANK_1);
    uint32_t raw_v = HAL_ADCEx_InjectedGetValue(&hadc2, ADC_INJECTED_RANK_1);
    uint32_t raw_w = HAL_ADCEx_InjectedGetValue(&hadc3, ADC_INJECTED_RANK_1);

    if (isr_mode == ISR_MODE_ADC_CAL) {
        if (!adc_cal_finished) {
            adc_cal_sum[0] += raw_u;
            adc_cal_sum[1] += raw_v;
            adc_cal_sum[2] += raw_w;
            if (++adc_cal_count >= ADC_CAL_SAMPLES) {
                adc_zero[0] = adc_cal_sum[0] / ADC_CAL_SAMPLES;
                adc_zero[1] = adc_cal_sum[1] / ADC_CAL_SAMPLES;
                adc_zero[2] = adc_cal_sum[2] / ADC_CAL_SAMPLES;
                adc_cal_finished = 1u;
            }
        }
        return;
    }

    const float scale = FOC_ADC_VREF / (float)(1u << FOC_ADC_BITS)
                        / (FOC_ADC_RSHUNT * FOC_ADC_CSA_GAIN_VV);

//  motor.state.i_u = ((float)raw_u - (float)adc_zero[0]) * scale;  // V/W original order
//  motor.state.i_v = ((float)raw_v - (float)adc_zero[1]) * scale;
//  motor.state.i_w = ((float)raw_w - (float)adc_zero[2]) * scale;
    motor.state.i_u = ((float)raw_u - (float)adc_zero[0]) * scale;
    motor.state.i_w = ((float)raw_v - (float)adc_zero[1]) * scale;  // ADC2 (HW phase V) → i_w
    motor.state.i_v = ((float)raw_w - (float)adc_zero[2]) * scale;  // ADC3 (HW phase W) → i_v
}

/* USER CODE END 4 */

 /* MPU Configuration */

void MPU_Config(void)
{
  MPU_Region_InitTypeDef MPU_InitStruct = {0};

  /* Disables the MPU */
  HAL_MPU_Disable();

  /** Initializes and configures the Region and the memory to be protected
  */
  MPU_InitStruct.Enable = MPU_REGION_ENABLE;
  MPU_InitStruct.Number = MPU_REGION_NUMBER0;
  MPU_InitStruct.BaseAddress = 0x0;
  MPU_InitStruct.Size = MPU_REGION_SIZE_4GB;
  MPU_InitStruct.SubRegionDisable = 0x87;
  MPU_InitStruct.TypeExtField = MPU_TEX_LEVEL0;
  MPU_InitStruct.AccessPermission = MPU_REGION_NO_ACCESS;
  MPU_InitStruct.DisableExec = MPU_INSTRUCTION_ACCESS_DISABLE;
  MPU_InitStruct.IsShareable = MPU_ACCESS_SHAREABLE;
  MPU_InitStruct.IsCacheable = MPU_ACCESS_NOT_CACHEABLE;
  MPU_InitStruct.IsBufferable = MPU_ACCESS_NOT_BUFFERABLE;

  HAL_MPU_ConfigRegion(&MPU_InitStruct);
  /* Enables the MPU */
  HAL_MPU_Enable(MPU_PRIVILEGED_DEFAULT);

}

void Error_Handler(void)
{
  __disable_irq();
  while (1)
  {
  }
}
